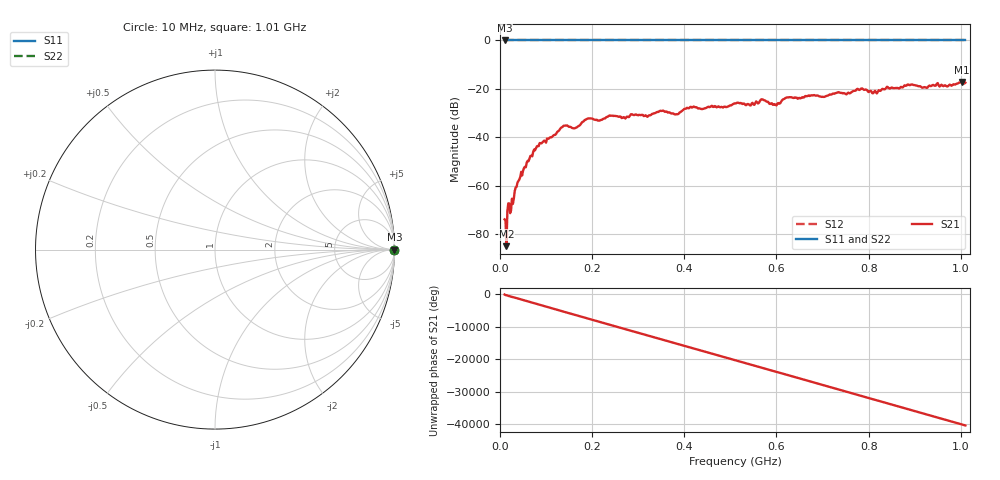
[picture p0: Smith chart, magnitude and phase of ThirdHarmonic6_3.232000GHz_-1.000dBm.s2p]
! 8/17/2025 9:53:56 AM
! C:\ANRITSUVNA\TEMP\TEMP.S2P
! CHANNEL.1
! TR.MEASUREMENT
! RAW.DATA
! RF.CORRECTION.OFF
! AVERAGING.OFF
! IF.BANDWIDTH: 5KHZ
! SWEEPTYPE:  FREQ.SWEEP(Linear)
! Reference Plane Port Info
! PORT:  PORT1  PORT2
! DISTANCE:  0  m  0  m
! TIME:  0  s  0  s
! PHASE.OFFSET:  0  deg.  0  deg.
! LOSS:  0  dB  0  dB
! REF.LOSS:  0  dB  0  dB
! REF.FREQ:  0  Hz  0  Hz
! Power Info
! POWER:  -20  dBm  -20  dBm
! EFF.POWER:  -20  dBm  -20  dBm
! SOURCE.ATTEN:  0  dB  0  dB
! TEST.ATTEN:  0  dB  0  dB
# GHZ S RI R 50.0
! FREQ.GHZ  S11RE  S11IM  S21RE  S21IM  S12RE  S12IM  S22RE  S22IM
!; PortSelection: Port_12
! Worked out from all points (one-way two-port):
!   501 points, 10 MHz to 1.01 GHz, reference 50 ohm
!   highest |S21| = -17.09 dB at 1.002 GHz (marker M1); lowest = -84.9 dB at 14 MHz (marker M2)
!   lowest |S11| = 0.0 dB at 10 MHz (marker M3)
!   |S11| at or under -10 dB: nowhere
!   |S22| runs from 0.0 to 0.0 dB; largest |S21 - S12| = 1.1
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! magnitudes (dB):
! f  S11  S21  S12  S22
! 10 MHz  0.0  -73.8  0.0  0.0
! 14 MHz  0.0  -84.9  0.0  0.0
! 22 MHz  0.0  -71.2  0.0  0.0
! 26 MHz  0.0  -65.3  0.0  0.0
! 42 MHz  0.0  -57.4  0.0  0.0
! 78 MHz  0.0  -44.5  0.0  0.0
! 136 MHz  0.0  -35.6  0.0  0.0
! 162 MHz  0.0  -36.2  0.0  0.0
! 178 MHz  0.0  -33.8  0.0  0.0
! 192 MHz  0.0  -32.1  0.0  0.0
! 322 MHz  0.0  -31.1  0.0  0.0
! 344 MHz  0.0  -29.5  0.0  0.0
! 382 MHz  0.0  -30.4  0.0  0.0
! 416 MHz  0.0  -27.7  0.0  0.0
! 510 MHz  0.0  -26.0  0.0  0.0
! 570 MHz  0.0  -24.3  0.0  0.0
! 596 MHz  0.0  -26.3  0.0  0.0
! 624 MHz  0.0  -23.5  0.0  0.0
! 678 MHz  0.0  -22.7  0.0  0.0
! 844 MHz  0.0  -19.7  0.0  0.0
! 1.002 GHz  0.0  -17.1  0.0  0.0
! 1.01 GHz  0.0  -17.4  0.0  0.0
